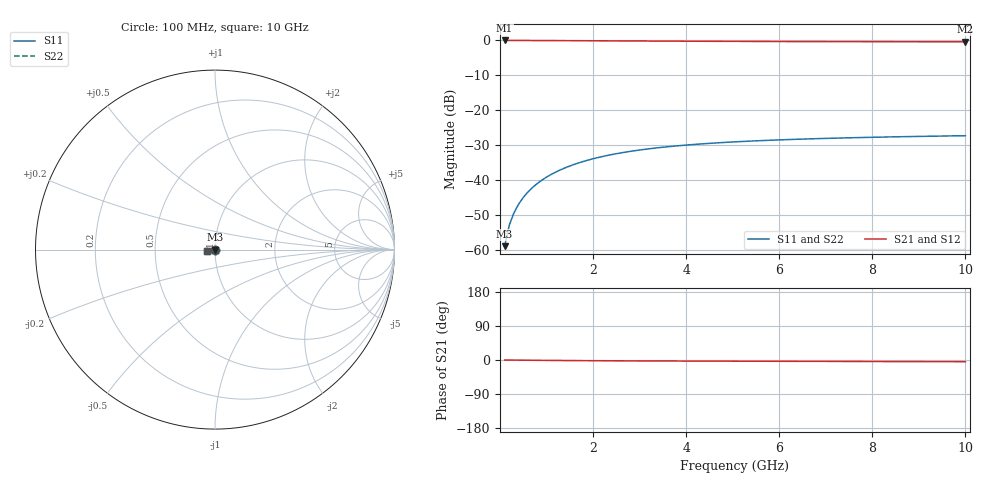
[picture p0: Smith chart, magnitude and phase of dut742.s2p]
! Touchstone file exported from HFSS 2024.1.0
!  File:  C:/UserFiles/LocalFiles/RDL_TSV_Batchsim/temp_TSV1_742_1779870384.aedt
!  Generated:  04:31:52 PM May 27, 2026
!  Design:  TSV1
!  Project:  temp_TSV1_742_1779870384
!  Setup:  Setup1
!  Solution:  Sweep
! Variables:
!  dtsv = 10.39um
!  hbump = 3um
!  htsv = 68.96um
!  lrdl = 252.1521522um
!  p = 40
!  p1 = 43.53um
!  t = 500um
!  trdl = 3um
!  wrdl = 24.89489489um
# GHz S MA R 50.000000
! Terminal data exported
! Port[1] = TSV22_T1
! Port[2] = TSV22_T2
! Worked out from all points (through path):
!   100 points, 100 MHz to 10 GHz, reference 50 ohm
!   highest |S21| = 0.00 dB at 100 MHz (marker M1); lowest = -0.4 dB at 10 GHz (marker M2)
!   lowest |S11| = -58.9 dB at 100 MHz (marker M3), VSWR 1.00, Z = 50 - j0.114 ohm
!   |S11| at or under -10 dB: start of sweep to end of sweep
!   |S22| runs from -58.9 to -27.3 dB; largest |S21 - S12| = 4.1e-15
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0.1  0.00114 -85.3  0.9998 -0.1  0.9998 -0.1  0.00114 -85.3
! Gamma 0 0 0 0
! Port Impedance 50 0 50 0
0.2  0.002273 -89.8  0.9997 -0.2  0.9997 -0.2  0.002273 -89.8
0.3  0.003407 -92.4  0.9996 -0.3  0.9996 -0.3  0.003407 -92.4
0.4  0.004539 -94.5  0.9993 -0.4  0.9993 -0.4  0.004539 -94.5
0.5  0.005664 -96.4  0.999 -0.5  0.999 -0.5  0.005664 -96.4
0.6  0.006778 -98.2  0.9987 -0.6  0.9987 -0.6  0.006778 -98.2
0.7  0.007878 -99.9  0.9983 -0.7  0.9983 -0.7  0.007878 -99.9
0.8  0.008963 -101.6  0.9978 -0.8  0.9978 -0.8  0.008963 -101.6
0.9  0.01003 -103.2  0.9973 -0.9  0.9973 -0.9  0.01003 -103.2
1.1  0.01211 -106.3  0.9962 -1.1  0.9962 -1.1  0.01211 -106.3
1.4  0.01506 -110.8  0.9943 -1.4  0.9943 -1.4  0.01506 -110.8
1.6  0.0169 -113.7  0.9928 -1.5  0.9928 -1.5  0.0169 -113.7
1.8  0.01865 -116.4  0.9913 -1.7  0.9913 -1.7  0.01865 -116.4
2.1  0.02108 -120.3  0.989 -1.9  0.989 -1.9  0.02108 -120.3
2.5  0.02397 -125.0  0.9859 -2.1  0.9859 -2.1  0.02397 -125.0
2.9  0.02649 -129.3  0.9829 -2.3  0.9829 -2.3  0.02649 -129.3
3.4  0.02919 -134.2  0.9794 -2.6  0.9794 -2.6  0.02919 -134.2
4.2  0.03264 -140.9  0.9744 -2.9  0.9744 -2.9  0.03264 -140.9
5.1  0.03557 -147.1  0.9698 -3.2  0.9698 -3.2  0.03557 -147.1
6.7  0.03918 -155.9  0.9637 -3.6  0.9637 -3.6  0.03918 -155.9
8.4  0.0417 -163.2  0.9593 -4.0  0.9593 -4.0  0.0417 -163.2
10  0.04337 -168.7  0.9564 -4.5  0.9564 -4.5  0.04337 -168.7
